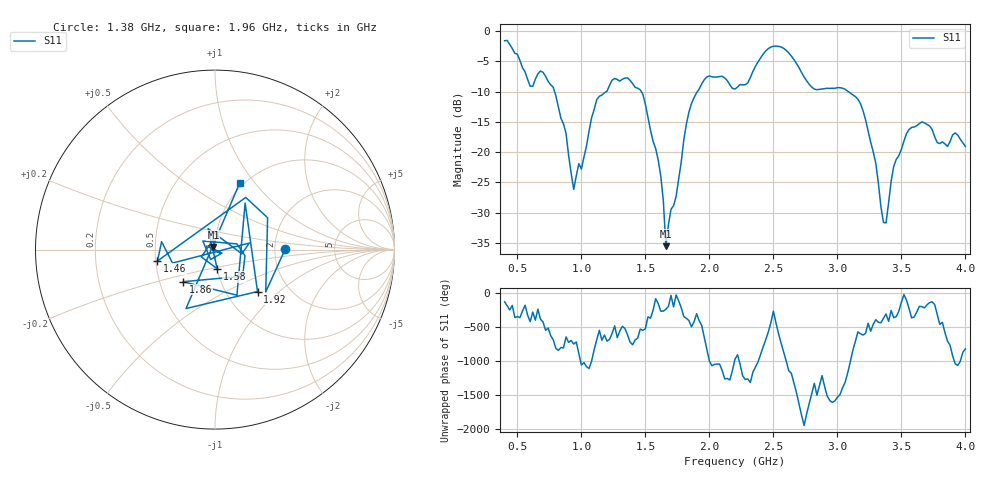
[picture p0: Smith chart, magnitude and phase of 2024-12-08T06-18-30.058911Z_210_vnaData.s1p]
!Created with skrf (http://scikit-rf.org).
# Hz S RI R 50.0
!freq ReS11 ImS11
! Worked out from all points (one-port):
!   181 points, 400 MHz to 4 GHz, reference 50 ohm
!   lowest |S11| = -35.5 dB at 1.66 GHz (marker M1), VSWR 1.03, Z = 49.1 + j1.4 ohm
!   |S11| at or under -10 dB: 790.4 MHz to 1.195 GHz (404.5 MHz wide, 40.7 % of centre); 1.468 GHz to 1.906 GHz (438.3 MHz wide, 26 % of centre); 3.085 GHz to end of sweep
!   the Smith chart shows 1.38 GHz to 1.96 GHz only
!   S11 on the Smith chart (normalised r, x): 1.38 GHz: 2.29, +0.02; 1.46 GHz: 0.51, -0.07; 1.58 GHz: 1.00, -0.22; 1.86 GHz: 0.66, -0.25; 1.92 GHz: 1.40, -0.73; 1.96 GHz: 0.96, +0.84
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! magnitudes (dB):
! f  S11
! 400 MHz  -1.6
! 600 MHz  -9.1
! 700 MHz  -6.8
! 860 MHz  -15.3
! 940 MHz  -26.1
! 1.12 GHz  -11.3
! 1.3 GHz  -8.3
! 1.38 GHz  -8.1
! 1.46 GHz  -9.7
! 1.58 GHz  -19.4
! 1.62 GHz  -23.9
! 1.66 GHz  -35.5
! 1.76 GHz  -24.4
! 1.86 GHz  -12.0
! 1.92 GHz  -9.6
! 1.96 GHz  -8.0
! 2.2 GHz  -9.6
! 2.48 GHz  -2.7
! 2.66 GHz  -4.7
! 2.82 GHz  -9.6
! 3.1 GHz  -10.2
! 3.22 GHz  -14.7
! 3.3 GHz  -21.8
! 3.36 GHz  -31.6
! 3.38 GHz  -31.7
! 3.44 GHz  -22.4
! 3.56 GHz  -16.3
! 4 GHz  -19.0
